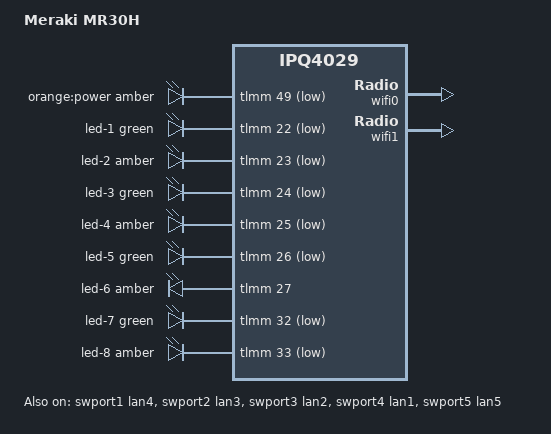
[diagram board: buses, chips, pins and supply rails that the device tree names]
// SPDX-License-Identifier: GPL-2.0-only
// Device Tree Source for Meraki MR30H (Noisy Cricket)

#include "qcom-ipq4029-wired-qca-common.dtsi"

/ {
	model = "Meraki MR30H";
	compatible = "meraki,mr30h";

	soc {
		tcsr@194b000 {
			status = "disabled";
		};
	};

	leds {
		compatible = "gpio-leds";

		power_orange: power {
			color = <LED_COLOR_ID_AMBER>;
			function = LED_FUNCTION_POWER;
			label = "orange:power";
			gpios = <&tlmm 49 GPIO_ACTIVE_LOW>;
			panic-indicator;
		};

		led-1 {
			color = <LED_COLOR_ID_GREEN>;
			function = LED_FUNCTION_LAN;
			function-enumerator = <1>;
			gpios = <&tlmm 22 GPIO_ACTIVE_LOW>;
		};

		led-2 {
			/* LAN 4 act */
			color = <LED_COLOR_ID_AMBER>;
			function = LED_FUNCTION_LAN;
			function-enumerator = <0>;
			gpios = <&tlmm 23 GPIO_ACTIVE_LOW>;
		};

		led-3 {
			color = <LED_COLOR_ID_GREEN>;
			function = LED_FUNCTION_LAN;
			function-enumerator = <11>;
			gpios = <&tlmm 24 GPIO_ACTIVE_LOW>;
		};

		led-4 {
			/* LAN 3 act */
			color = <LED_COLOR_ID_AMBER>;
			function = LED_FUNCTION_LAN;
			function-enumerator = <10>;
			gpios = <&tlmm 25 GPIO_ACTIVE_LOW>;
		};

		led-5 {
			color = <LED_COLOR_ID_GREEN>;
			function = LED_FUNCTION_LAN;
			function-enumerator = <21>;
			gpios = <&tlmm 26 GPIO_ACTIVE_LOW>;
		};

		led-6 {
			/* LAN 2 act */
			color = <LED_COLOR_ID_AMBER>;
			function = LED_FUNCTION_LAN;
			function-enumerator = <20>;
			gpios = <&tlmm 27 GPIO_ACTIVE_HIGH>;
		};

		led-7 {
			color = <LED_COLOR_ID_GREEN>;
			function = LED_FUNCTION_LAN;
			function-enumerator = <31>;
			gpios = <&tlmm 32 GPIO_ACTIVE_LOW>;
		};

		led-8 {
			/* LAN 1 act */
			color = <LED_COLOR_ID_AMBER>;
			function = LED_FUNCTION_LAN;
			function-enumerator = <30>;
			gpios = <&tlmm 33 GPIO_ACTIVE_LOW>;
		};

	};
};

&usb2_hs_phy {
	status = "disabled";
};

&usb2 {
	status = "disabled";
};

&usb3_hs_phy {
	status = "disabled";
};

&usb3_ss_phy {
	status = "disabled";
};

&usb3 {
	status = "disabled";
};

&wifi0 {
	status = "okay";
	qcom,ath10k-calibration-variant = "Meraki-MR30H";
};

&wifi1 {
	status = "okay";
	qcom,ath10k-calibration-variant = "Meraki-MR30H";
};

&swport1 {
	label = "lan4";
	status = "okay";
};

&swport2 {
	label = "lan3";
	status = "okay";
};

&swport3 {
	label = "lan2";
	status = "okay";
};

&swport4 {
	label = "lan1";
	status = "okay";
};

&swport5 {
	label = "lan5";
	status = "okay";
};
